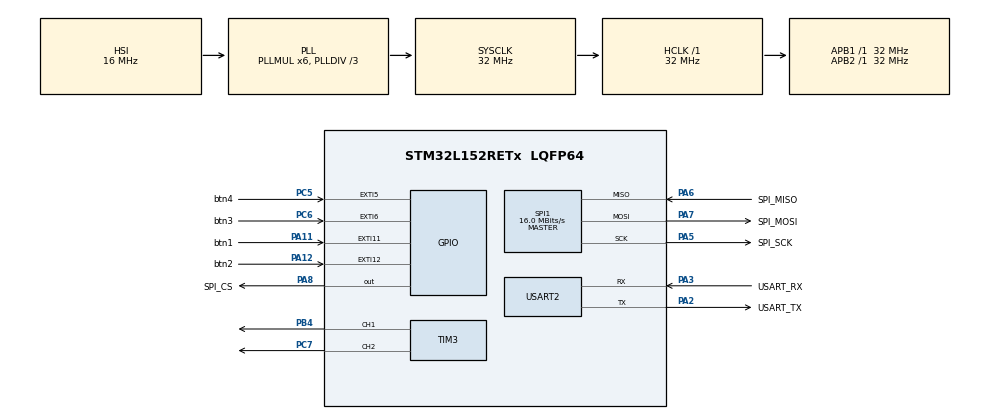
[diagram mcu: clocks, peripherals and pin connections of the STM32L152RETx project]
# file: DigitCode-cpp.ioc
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Mcu.Family=STM32L1
Mcu.Name=STM32L152RETx
Mcu.Package=LQFP64
NVIC.EXTI15_10_IRQn=true\:0\:0\:false\:false\:true\:true\:true\:true
NVIC.EXTI9_5_IRQn=true\:0\:0\:false\:false\:true\:true\:true\:true
NVIC.PriorityGroup=NVIC_PRIORITYGROUP_0
PA11.GPIO_Label=btn1
PA11.Signal=GPXTI11
PA12.GPIO_Label=btn2
PA12.Signal=GPXTI12
PA13.GPIO_Label=TMS
PA13.Mode=Serial_Wire
PA13.Signal=SYS_JTMS-SWDIO
PA14.GPIO_Label=TCK
PA14.Mode=Serial_Wire
PA14.Signal=SYS_JTCK-SWCLK
PA2.GPIO_Label=USART_TX
PA2.Mode=Asynchronous
PA2.Signal=USART2_TX
PA3.GPIO_Label=USART_RX
PA3.Mode=Asynchronous
PA3.Signal=USART2_RX
PA5.GPIO_Label=SPI_SCK
PA5.Mode=Full_Duplex_Master
PA5.Signal=SPI1_SCK
PA6.GPIO_Label=SPI_MISO
PA6.Mode=Full_Duplex_Master
PA6.Signal=SPI1_MISO
PA7.GPIO_Label=SPI_MOSI
PA7.Mode=Full_Duplex_Master
PA7.Signal=SPI1_MOSI
PA8.GPIO_Label=SPI_CS
PA8.GPIO_PuPd=GPIO_PULLUP
PA8.Signal=GPIO_Output
PB3.GPIO_Label=SWO
PB3.Signal=SYS_JTDO-TRACESWO
PB4.Signal=S_TIM3_CH1
PC14-OSC32_IN.Mode=LSE-External-Oscillator
PC14-OSC32_IN.Signal=RCC_OSC32_IN
PC15-OSC32_OUT.Mode=LSE-External-Oscillator
PC15-OSC32_OUT.Signal=RCC_OSC32_OUT
PC5.GPIO_Label=btn4
PC5.Signal=GPXTI5
PC6.GPIO_Label=btn3
PC6.Signal=GPXTI6
PC7.Signal=S_TIM3_CH2
PH0-OSC_IN.Mode=HSE-External-Clock-Source
PH0-OSC_IN.Signal=RCC_OSC_IN
PH1-OSC_OUT.Signal=RCC_OSC_OUT
ProjectManager.HeapSize=0x200
ProjectManager.StackSize=0x400
ProjectManager.TargetToolchain=STM32CubeIDE
RCC.48MHZClocksFreq_Value=48000000
RCC.AHBFreq_Value=32000000
RCC.APB1Freq_Value=32000000
RCC.APB1TimFreq_Value=32000000
RCC.APB2Freq_Value=32000000
RCC.APB2TimFreq_Value=32000000
RCC.HCLKFreq_Value=32000000
RCC.HSE_VALUE=8000000
RCC.HSI_VALUE=16000000
RCC.MSI_VALUE=2097000
RCC.PLLDIV=RCC_PLL_DIV3
RCC.PLLMUL=RCC_PLL_MUL6
RCC.RTCClockSelectionVirtual=RCC_RTCCLKSOURCE_LSE
RCC.SYSCLKFreq_VALUE=32000000
RCC.SYSCLKSource=RCC_SYSCLKSOURCE_PLLCLK
RCC.USBOutput=48000000
RCC.VCOOutputFreq_Value=96000000
SH.S_TIM3_CH1.0=TIM3_CH1,PWM Generation1 CH1
SH.S_TIM3_CH2.0=TIM3_CH2,PWM Generation2 CH2
SPI1.CalculateBaudRate=16.0 MBits/s
SPI1.Direction=SPI_DIRECTION_2LINES
SPI1.Mode=SPI_MODE_MASTER
SPI1.VirtualType=VM_MASTER
TIM3.Channel-PWM\ Generation1\ CH1=TIM_CHANNEL_1
TIM3.Channel-PWM\ Generation2\ CH2=TIM_CHANNEL_2
USART2.VirtualMode=VM_ASYNC
board=NUCLEO-L152RE

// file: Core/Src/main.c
/* USER CODE BEGIN Header */
/**
  ******************************************************************************
  * @file           : main.c
  * @brief          : Main program body
  ******************************************************************************
  * @attention
  *
  * Copyright (c) 2024 STMicroelectronics.
  * All rights reserved.
  *
  * This software is licensed under terms that can be found in the LICENSE file
  * in the root directory of this software component.
  * If no LICENSE file comes with this software, it is provided AS-IS.
  *
  ******************************************************************************
  */
/* USER CODE END Header */
#include "main.h"

/* USER CODE BEGIN Includes */
#include <stdio.h>
#include "stm32l1xx_it.h"
#include <string.h>

#include "main.hpp"
/* USER CODE END Includes */

SPI_HandleTypeDef hspi1;

TIM_HandleTypeDef htim3;

UART_HandleTypeDef huart2;

void SystemClock_Config(void);
static void MX_GPIO_Init(void);
static void MX_USART2_UART_Init(void);
static void MX_SPI1_Init(void);
static void MX_TIM3_Init(void);
/* USER CODE BEGIN PFP */
int __io_putchar(int ch) {
	ITM_SendChar(ch);
	return ch;
}
/* USER CODE END PFP */

/* USER CODE BEGIN 0 */

int flag_btn=0;
int btn_trig=0;
/*
uint32_t pos = 0;

char root_code[4];
char user_code[4];
char final_code[4];

void code_bon(uint32_t MyDelay){
	MAX7219_Clear();
	HAL_Delay(100);
	MAX7219_DisplayChar(4,'C');
	HAL_Delay(MyDelay);

	MAX7219_Clear();
	MAX7219_DisplayChar(3,'C');
	MAX7219_DisplayChar(4,'O');
	HAL_Delay(MyDelay);

	MAX7219_Clear();
	MAX7219_DisplayChar(2,'C');
	MAX7219_DisplayChar(3,'O');
	MAX7219_DisplayChar(4,'D');
	HAL_Delay(MyDelay);

	MAX7219_Clear();
	MAX7219_DisplayChar(1,'C');
	MAX7219_DisplayChar(2,'O');
	MAX7219_DisplayChar(3,'D');
	MAX7219_DisplayChar(4,'E');
	HAL_Delay(MyDelay);

	MAX7219_Clear();
	MAX7219_DisplayChar(1,'O');
	MAX7219_DisplayChar(2,'D');
	MAX7219_DisplayChar(3,'E');
	HAL_Delay(MyDelay);

	MAX7219_Clear();
	MAX7219_DisplayChar(1,'D');
	MAX7219_DisplayChar(2,'E');
	MAX7219_DisplayChar(4,'B');
	HAL_Delay(MyDelay);

	MAX7219_Clear();
	MAX7219_DisplayChar(1,'E');
	MAX7219_DisplayChar(3,'B');
	MAX7219_DisplayChar(4,'O');
	HAL_Delay(MyDelay);

	MAX7219_Clear();
	MAX7219_DisplayChar(2,'B');
	MAX7219_DisplayChar(3,'O');
	MAX7219_DisplayChar(4,'N');
	HAL_Delay(MyDelay);

	MAX7219_Clear();
	MAX7219_DisplayChar(1,'B');
	MAX7219_DisplayChar(2,'O');
	MAX7219_DisplayChar(3,'N');
	HAL_Delay(MyDelay);

	MAX7219_Clear();
	MAX7219_DisplayChar(1,'O');
	MAX7219_DisplayChar(2,'N');
	HAL_Delay(MyDelay);

	MAX7219_Clear();
	MAX7219_DisplayChar(1,'N');
	HAL_Delay(MyDelay);
	MAX7219_Clear();

}

void aff_message(const char* mot, uint32_t MyDelay) {
    size_t len_mot = strlen(mot);
    for (size_t i = 0; i < len_mot; i++) {
        char lettre = mot[i];
        if (lettre == ' ') {
            MAX7219_Clear();
            HAL_Delay(MyDelay);
        } else {
            MAX7219_Clear();
            MAX7219_DisplayChar(4, lettre); // Utilisation d'une position fixe ici
            HAL_Delay(MyDelay);
        }
    }
}
*/

/*
void ask_code(uint32_t MyDelay){
	MAX7219_Clear();
	HAL_Delay(100);
	MAX7219_DisplayChar(4,'E');
	HAL_Delay(MyDelay);

	MAX7219_Clear();
	MAX7219_DisplayChar(3,'E');
	MAX7219_DisplayChar(4,'N');
	HAL_Delay(MyDelay);

	MAX7219_Clear();
	MAX7219_DisplayChar(2,'E');
	MAX7219_DisplayChar(3,'N');
	MAX7219_DisplayChar(4,'T');
	HAL_Delay(MyDelay);

	MAX7219_Clear();
	MAX7219_DisplayChar(1,'E');
	MAX7219_DisplayChar(2,'N');
	MAX7219_DisplayChar(3,'T');
	MAX7219_DisplayChar(4,'R');
	HAL_Delay(MyDelay);

	MAX7219_Clear();
	MAX7219_DisplayChar(1,'N');
	MAX7219_DisplayChar(2,'T');
	MAX7219_DisplayChar(3,'R');
	MAX7219_DisplayChar(4,'E');
	HAL_Delay(MyDelay);

	MAX7219_Clear();
	MAX7219_DisplayChar(1,'T');
	MAX7219_DisplayChar(2,'R');
	MAX7219_DisplayChar(3,'E');
	MAX7219_DisplayChar(4,'R');
	HAL_Delay(MyDelay);

	MAX7219_Clear();
	MAX7219_DisplayChar(1,'R');
	MAX7219_DisplayChar(2,'E');
	MAX7219_DisplayChar(3,'R');
	HAL_Delay(MyDelay);

	MAX7219_Clear();
	MAX7219_DisplayChar(1,'E');
	MAX7219_DisplayChar(2,'R');
	MAX7219_DisplayChar(4,'C');
	HAL_Delay(MyDelay);

	MAX7219_Clear();
	MAX7219_DisplayChar(1,'R');
	MAX7219_DisplayChar(3,'C');
	MAX7219_DisplayChar(4,'O');
	HAL_Delay(MyDelay);

	MAX7219_Clear();
	MAX7219_DisplayChar(2,'C');
	MAX7219_DisplayChar(3,'O');
	MAX7219_DisplayChar(4,'D');
	HAL_Delay(MyDelay);

	MAX7219_Clear();
	MAX7219_DisplayChar(1,'C');
	MAX7219_DisplayChar(2,'O');
	MAX7219_DisplayChar(3,'D');
	MAX7219_DisplayChar(4,'E');
	HAL_Delay(MyDelay);

	MAX7219_Clear();
	MAX7219_DisplayChar(1,'O');
	MAX7219_DisplayChar(2,'D');
	MAX7219_DisplayChar(3,'E');
	HAL_Delay(MyDelay);

	MAX7219_Clear();
	MAX7219_DisplayChar(1,'D');
	MAX7219_DisplayChar(2,'E');
	HAL_Delay(MyDelay);

	MAX7219_Clear();
	MAX7219_DisplayChar(1,'E');
	HAL_Delay(MyDelay);

	MAX7219_Clear();
	HAL_Delay(MyDelay);

}
void affiche_1(int pos){
	MAX7219_DisplayChar(pos,'1');
}

void affiche_2(int pos){
	MAX7219_DisplayChar(pos,'2');
}

void affiche_3(int pos){
	MAX7219_DisplayChar(pos,'3');
}

void affiche_4(int pos){
	MAX7219_DisplayChar(pos,'4');
}

char* code() {
    HAL_Delay(300);
    while (pos < 4) {
        HAL_Delay(100);
        if (btn_trig == 1) {
            if (flag_btn == 1) {
                pos++;
                affiche_1(pos);
                user_code[pos - 1] = '1';
                btn_trig = 0;
            } else if (flag_btn == 2) {
                pos++;
                affiche_2(pos);
                user_code[pos - 1] = '2';
                btn_trig = 0;
            } else if (flag_btn == 3) {
                pos++;
                affiche_3(pos);
                user_code[pos - 1] = '3';
                btn_trig = 0;
            } else if (flag_btn == 4) {
                pos++;
                affiche_4(pos);
                user_code[pos - 1] = '4';
                btn_trig = 0;
            }
            btn_trig = 0;
            HAL_Delay(250);
        }
    }
    for (uint32_t a = 0; a < 4; a++) final_code[a] = user_code[a];
    pos=0;
    return final_code;
}
void code_faux(){
	MAX7219_Clear();
	HAL_Delay(100);
	MAX7219_DisplayChar(1,'N');
	MAX7219_DisplayChar(2,'O');
	MAX7219_DisplayChar(3,'N');
}

*/

/* USER CODE END 0 */

int main(void)
{

  /* MCU Configuration--------------------------------------------------------*/

  /* Reset of all peripherals, Initializes the Flash interface and the Systick. */
  HAL_Init();

  /* Configure the system clock */
  SystemClock_Config();

  /* USER CODE BEGIN SysInit */
  printf("Init system...\r\n");
  /* USER CODE END SysInit */

  /* Initialize all configured peripherals */
  MX_GPIO_Init();
  MX_USART2_UART_Init();
  MX_SPI1_Init();
  MX_TIM3_Init();
  /* USER CODE BEGIN 2 */
  HAL_TIM_PWM_Start(&htim3, TIM_CHANNEL_2);
  HAL_TIM_PWM_Start(&htim3, TIM_CHANNEL_1);
  /* USER CODE END 2 */

  /* Infinite loop */
  /* USER CODE BEGIN WHILE */
  while (1)
  {

	  //code_ok(500);
	  //ask_code(300);

    /* USER CODE END WHILE */

    /* USER CODE BEGIN 3 */
	  main_cpp();
  }
  /* USER CODE END 3 */
}

void SystemClock_Config(void)
{
  RCC_OscInitTypeDef RCC_OscInitStruct = {0};
  RCC_ClkInitTypeDef RCC_ClkInitStruct = {0};

  /** Configure the main internal regulator output voltage
  */
  __HAL_PWR_VOLTAGESCALING_CONFIG(PWR_REGULATOR_VOLTAGE_SCALE1);

  /** Initializes the RCC Oscillators according to the specified parameters
  * in the RCC_OscInitTypeDef structure.
  */
  RCC_OscInitStruct.OscillatorType = RCC_OSCILLATORTYPE_HSI;
  RCC_OscInitStruct.HSIState = RCC_HSI_ON;
  RCC_OscInitStruct.HSICalibrationValue = RCC_HSICALIBRATION_DEFAULT;
  RCC_OscInitStruct.PLL.PLLState = RCC_PLL_ON;
  RCC_OscInitStruct.PLL.PLLSource = RCC_PLLSOURCE_HSI;
  RCC_OscInitStruct.PLL.PLLMUL = RCC_PLL_MUL6;
  RCC_OscInitStruct.PLL.PLLDIV = RCC_PLL_DIV3;
  if (HAL_RCC_OscConfig(&RCC_OscInitStruct) != HAL_OK)
  {
    Error_Handler();
  }

  /** Initializes the CPU, AHB and APB buses clocks
  */
  RCC_ClkInitStruct.ClockType = RCC_CLOCKTYPE_HCLK|RCC_CLOCKTYPE_SYSCLK
                              |RCC_CLOCKTYPE_PCLK1|RCC_CLOCKTYPE_PCLK2;
  RCC_ClkInitStruct.SYSCLKSource = RCC_SYSCLKSOURCE_PLLCLK;
  RCC_ClkInitStruct.AHBCLKDivider = RCC_SYSCLK_DIV1;
  RCC_ClkInitStruct.APB1CLKDivider = RCC_HCLK_DIV1;
  RCC_ClkInitStruct.APB2CLKDivider = RCC_HCLK_DIV1;

  if (HAL_RCC_ClockConfig(&RCC_ClkInitStruct, FLASH_LATENCY_1) != HAL_OK)
  {
    Error_Handler();
  }
}

static void MX_SPI1_Init(void)
{

  /* SPI1 parameter configuration*/
  hspi1.Instance = SPI1;
  hspi1.Init.Mode = SPI_MODE_MASTER;
  hspi1.Init.Direction = SPI_DIRECTION_2LINES;
  hspi1.Init.DataSize = SPI_DATASIZE_8BIT;
  hspi1.Init.CLKPolarity = SPI_POLARITY_LOW;
  hspi1.Init.CLKPhase = SPI_PHASE_1EDGE;
  hspi1.Init.NSS = SPI_NSS_SOFT;
  hspi1.Init.BaudRatePrescaler = SPI_BAUDRATEPRESCALER_2;
  hspi1.Init.FirstBit = SPI_FIRSTBIT_MSB;
  hspi1.Init.TIMode = SPI_TIMODE_DISABLE;
  hspi1.Init.CRCCalculation = SPI_CRCCALCULATION_DISABLE;
  hspi1.Init.CRCPolynomial = 10;
  if (HAL_SPI_Init(&hspi1) != HAL_OK)
  {
    Error_Handler();
  }

}

static void MX_TIM3_Init(void)
{

  TIM_MasterConfigTypeDef sMasterConfig = {0};
  TIM_OC_InitTypeDef sConfigOC = {0};

  htim3.Instance = TIM3;
  htim3.Init.Prescaler = 0;
  htim3.Init.CounterMode = TIM_COUNTERMODE_UP;
  htim3.Init.Period = 65535;
  htim3.Init.ClockDivision = TIM_CLOCKDIVISION_DIV1;
  htim3.Init.AutoReloadPreload = TIM_AUTORELOAD_PRELOAD_DISABLE;
  if (HAL_TIM_PWM_Init(&htim3) != HAL_OK)
  {
    Error_Handler();
  }
  sMasterConfig.MasterOutputTrigger = TIM_TRGO_RESET;
  sMasterConfig.MasterSlaveMode = TIM_MASTERSLAVEMODE_DISABLE;
  if (HAL_TIMEx_MasterConfigSynchronization(&htim3, &sMasterConfig) != HAL_OK)
  {
    Error_Handler();
  }
  sConfigOC.OCMode = TIM_OCMODE_PWM1;
  sConfigOC.Pulse = 0;
  sConfigOC.OCPolarity = TIM_OCPOLARITY_HIGH;
  sConfigOC.OCFastMode = TIM_OCFAST_DISABLE;
  if (HAL_TIM_PWM_ConfigChannel(&htim3, &sConfigOC, TIM_CHANNEL_1) != HAL_OK)
  {
    Error_Handler();
  }
  if (HAL_TIM_PWM_ConfigChannel(&htim3, &sConfigOC, TIM_CHANNEL_2) != HAL_OK)
  {
    Error_Handler();
  }
  HAL_TIM_MspPostInit(&htim3);

}

static void MX_USART2_UART_Init(void)
{

  huart2.Instance = USART2;
  huart2.Init.BaudRate = 115200;
  huart2.Init.WordLength = UART_WORDLENGTH_8B;
  huart2.Init.StopBits = UART_STOPBITS_1;
  huart2.Init.Parity = UART_PARITY_NONE;
  huart2.Init.Mode = UART_MODE_TX_RX;
  huart2.Init.HwFlowCtl = UART_HWCONTROL_NONE;
  huart2.Init.OverSampling = UART_OVERSAMPLING_16;
  if (HAL_UART_Init(&huart2) != HAL_OK)
  {
    Error_Handler();
  }

}

static void MX_GPIO_Init(void)
{
  GPIO_InitTypeDef GPIO_InitStruct = {0};

  /* GPIO Ports Clock Enable */
  __HAL_RCC_GPIOC_CLK_ENABLE();
  __HAL_RCC_GPIOH_CLK_ENABLE();
  __HAL_RCC_GPIOA_CLK_ENABLE();
  __HAL_RCC_GPIOB_CLK_ENABLE();

  /*Configure GPIO pin Output Level */
  HAL_GPIO_WritePin(SPI_CS_GPIO_Port, SPI_CS_Pin, GPIO_PIN_RESET);

  /*Configure GPIO pins : btn4_Pin btn3_Pin */
  GPIO_InitStruct.Pin = btn4_Pin|btn3_Pin;
  GPIO_InitStruct.Mode = GPIO_MODE_IT_RISING;
  GPIO_InitStruct.Pull = GPIO_NOPULL;
  HAL_GPIO_Init(GPIOC, &GPIO_InitStruct);

  /*Configure GPIO pin : SPI_CS_Pin */
  GPIO_InitStruct.Pin = SPI_CS_Pin;
  GPIO_InitStruct.Mode = GPIO_MODE_OUTPUT_PP;
  GPIO_InitStruct.Pull = GPIO_PULLUP;
  GPIO_InitStruct.Speed = GPIO_SPEED_FREQ_LOW;
  HAL_GPIO_Init(SPI_CS_GPIO_Port, &GPIO_InitStruct);

  /*Configure GPIO pins : btn1_Pin btn2_Pin */
  GPIO_InitStruct.Pin = btn1_Pin|btn2_Pin;
  GPIO_InitStruct.Mode = GPIO_MODE_IT_RISING;
  GPIO_InitStruct.Pull = GPIO_NOPULL;
  HAL_GPIO_Init(GPIOA, &GPIO_InitStruct);

  /* EXTI interrupt init*/
  HAL_NVIC_SetPriority(EXTI9_5_IRQn, 0, 0);
  HAL_NVIC_EnableIRQ(EXTI9_5_IRQn);

  HAL_NVIC_SetPriority(EXTI15_10_IRQn, 0, 0);
  HAL_NVIC_EnableIRQ(EXTI15_10_IRQn);

}

/* USER CODE BEGIN 4 */

void HAL_GPIO_EXTI_Callback(uint16_t GPIO_Pin)
{
  if(GPIO_Pin == btn1_Pin) {
	  flag_btn=1;
	  btn_trig=1;
  }
  else if(GPIO_Pin == btn2_Pin) {
	  flag_btn=2;
	  btn_trig=1;

  }
  else if(GPIO_Pin == btn3_Pin) {
	  flag_btn=3;
	  btn_trig=1;

  }
  else if(GPIO_Pin == btn4_Pin) {
	  flag_btn=4;
	  btn_trig=1;
  }
}

/* USER CODE END 4 */

void Error_Handler(void)
{
  __disable_irq();
  while (1)
  {
  }
}
